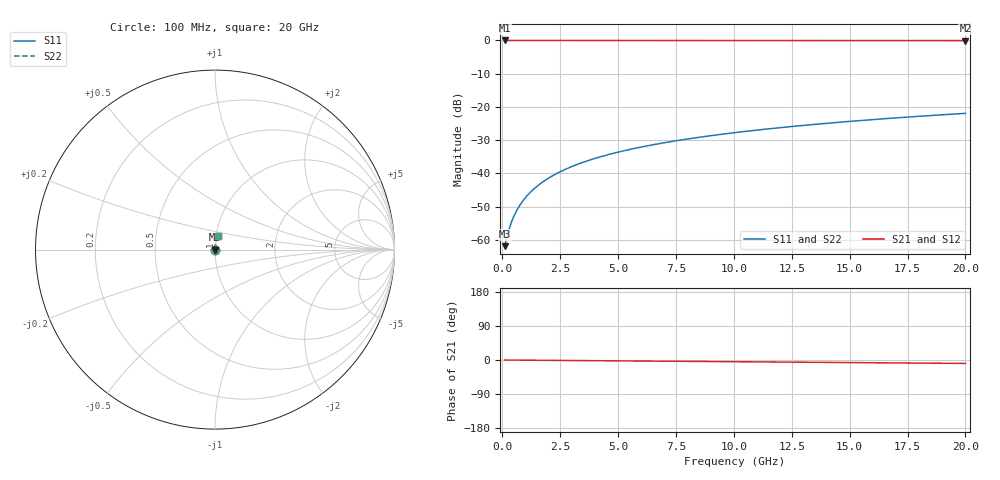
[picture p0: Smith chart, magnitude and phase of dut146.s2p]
! Touchstone file exported from HFSS 2026.1.0
!  File:  C:/ffzhzh/LocalFiles/Ansys_Project_Files/temp_train_TSV_146_1782990496_42984.aedt
!  Generated:  07:10:41 PM Jul  2, 2026
!  Design:  TSV
!  Project:  temp_train_TSV_146_1782990496_42984
! Variables:
!  h_bsmrdl = 2um
!  h_ox = 20um
!  h_rdl = 5um
!  h_sub = 77.2um
!  h_tmrdl = 5um
!  h_tsv = 77.2um
!  h_via = 3um
!  l_bsmrdl = 300um
!  l_sub = 407.4um
!  l_tmrdl = 200um
!  m_sub = 200um
!  pitch = 36.09um
!  r_tsv = 3.7um
!  s_tmrdl = 10um
!  w_bsmrdl = 18um
!  w_sub = 500um
!  w_tmrdl = 12um
!  x_tsv_center1 = 206um
!  x_tsv_center2 = 524um
!  x_tsv_center3 = 736um
!  x_tsv_center4 = 1054um
!  x_tsv_center5 = 1266um
!  x_tsv_center6 = 1584um
# GHz S MA R 50.000000
! Terminal data exported
! Port[1] = TSV1_1_T1
! Port[2] = TSV1_1_T2
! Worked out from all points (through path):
!   200 points, 100 MHz to 20 GHz, reference 50 ohm
!   highest |S21| = -0.01 dB at 100 MHz (marker M1); lowest = -0.1 dB at 20 GHz (marker M2)
!   group delay of S21, straight-line fit = 1.25 ps
!   lowest |S11| = -61.9 dB at 100 MHz (marker M3), VSWR 1.00, Z = 50.1 + j0.0438 ohm
!   |S11| at or under -10 dB: start of sweep to end of sweep
!   |S22| runs from -61.9 to -21.9 dB; largest |S21 - S12| = 3.3e-15
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0.1  0.0008035 33.0  0.9993 -0.0  0.9993 -0.0  0.0008035 33.0
! Gamma 0 0 0 0
! Port Impedance 50 0 50 0
0.2  0.001108 51.8  0.9993 -0.1  0.9993 -0.1  0.001108 51.8
0.3  0.001474 61.7  0.9993 -0.1  0.9993 -0.1  0.001474 61.7
0.4  0.001863 67.6  0.9993 -0.2  0.9993 -0.2  0.001863 67.6
0.5  0.002263 71.4  0.9993 -0.2  0.9993 -0.2  0.002263 71.4
0.6  0.002668 74.0  0.9993 -0.3  0.9993 -0.3  0.002668 74.0
0.8  0.00349 77.4  0.9993 -0.4  0.9993 -0.4  0.00349 77.4
1.1  0.004735 80.3  0.9992 -0.5  0.9992 -0.5  0.004735 80.3
1.5  0.006405 82.2  0.9992 -0.7  0.9992 -0.7  0.006405 82.2
1.8  0.007659 83.0  0.9991 -0.8  0.9991 -0.8  0.007659 83.0
2.1  0.008913 83.5  0.9991 -1.0  0.9991 -1.0  0.008913 83.5
2.7  0.01141 84.1  0.999 -1.2  0.999 -1.2  0.01141 84.1
3.5  0.01472 84.3  0.9989 -1.6  0.9989 -1.6  0.01472 84.3
4.2  0.0176 84.3  0.9987 -1.9  0.9987 -1.9  0.0176 84.3
5  0.02086 84.2  0.9985 -2.3  0.9985 -2.3  0.02086 84.2
5.9  0.02451 84.0  0.9983 -2.7  0.9983 -2.7  0.02451 84.0
6.8  0.02813 83.8  0.9981 -3.1  0.9981 -3.1  0.02813 83.8
8.3  0.03412 83.3  0.9977 -3.8  0.9977 -3.8  0.03412 83.3
10.1  0.04126 82.7  0.9972 -4.6  0.9972 -4.6  0.04126 82.7
13.4  0.05427 81.6  0.9963 -6.1  0.9963 -6.1  0.05427 81.6
16.7  0.06718 80.3  0.9953 -7.5  0.9953 -7.5  0.06718 80.3
20  0.08 79.0  0.9941 -9.0  0.9941 -9.0  0.08 79.0
